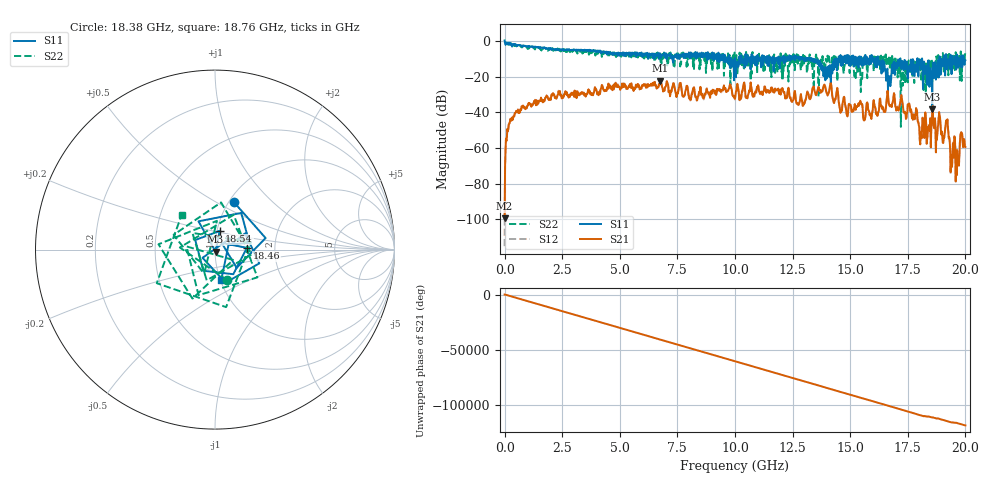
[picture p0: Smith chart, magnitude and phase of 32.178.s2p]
! Created with skrf 1.9.0 (http://scikit-rf.org).
# Hz S RI R 50.0
!freq ReS11 ImS11 ReS21 ImS21 ReS12 ImS12 ReS22 ImS22
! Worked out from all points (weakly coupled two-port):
!   1001 points, 1 MHz to 20 GHz, reference 50 ohm
!   highest |S21| = -22.23 dB at 6.761 GHz (marker M1); lowest = -99.4 dB at 1 MHz (marker M2)
!   lowest |S11| = -38.2 dB at 18.56 GHz (marker M3), VSWR 1.02, Z = 50.3 - j1.18 ohm
!   |S11| at or under -10 dB: 13.43 GHz to 14.32 GHz (892.3 MHz wide, 6.43 % of centre); 16.22 GHz to 17.16 GHz (938.6 MHz wide, 5.62 % of centre); 18.12 GHz to 18.87 GHz (750.5 MHz wide, 4.06 % of centre) (the widest 3 of 98)
!   |S22| runs from -48.1 to -0.2 dB; largest |S21 - S12| = 0.0081
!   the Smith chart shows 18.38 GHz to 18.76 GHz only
!   S11 on the Smith chart (normalised r, x): 18.38 GHz: 1.05, +0.61; 18.46 GHz: 1.43, +0.03; 18.54 GHz: 1.03, +0.22; 18.76 GHz: 1.01, -0.35
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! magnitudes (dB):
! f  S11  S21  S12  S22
! 1 MHz  0.4  -99.4  -115.1  -0.2
! 161 MHz  -1.5  -49.4  -49.4  -1.8
! 481 MHz  -1.8  -40.3  -39.8  -2.6
! 3.341 GHz  -4.8  -28.6  -28.9  -6.6
! 6.681 GHz  -7.3  -25.8  -25.4  -8.2
! 6.761 GHz  -9.0  -22.2  -22.4  -9.9
! 10 GHz  -9.5  -32.3  -32.7  -7.2
! 13.34 GHz  -10.8  -28.6  -28.2  -14.4
! 13.94 GHz  -14.5  -27.0  -27.3  -9.9
! 15.42 GHz  -12.8  -34.4  -34.3  -14.2
! 15.96 GHz  -11.6  -39.9  -39.9  -10.5
! 16.68 GHz  -22.9  -35.2  -35.2  -9.1
! 17.28 GHz  -11.6  -35.6  -35.7  -25.0
! 18.38 GHz  -10.9  -48.2  -48.0  -14.9
! 18.46 GHz  -15.0  -50.5  -49.9  -11.4
! 18.54 GHz  -19.4  -47.4  -47.2  -10.0
! 18.56 GHz  -38.2  -40.2  -40.3  -15.9
! 18.76 GHz  -15.3  -55.3  -55.1  -11.4
! 19.2 GHz  -15.8  -45.2  -44.9  -10.1
! 19.66 GHz  -12.5  -67.2  -67.1  -9.8
! 19.86 GHz  -14.7  -51.9  -51.4  -8.2
! 20 GHz  -10.7  -59.4  -58.7  -6.1
